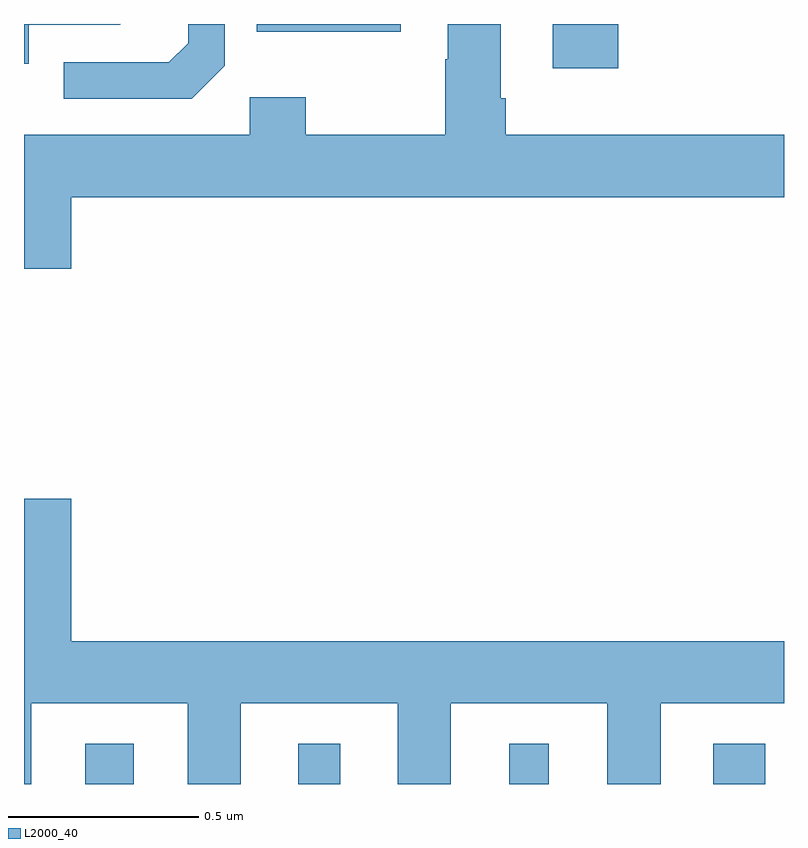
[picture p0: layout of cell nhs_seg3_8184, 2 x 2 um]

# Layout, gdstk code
import gdstk
lib = gdstk.Library(unit=1e-6, precision=1e-09)
def R(c, l, rs):  # rectangles x0, y0, x1, y1
    for r in rs: c.add(gdstk.rectangle(r[:2], r[2:], *l))
def P(c, l, *ps):  # polygons
    for p in ps: c.add(gdstk.Polygon(p, *l))
L2000_40 = (2000, 40)

nhs_seg3_8184 = lib.new_cell('nhs_seg3_8184')
R(nhs_seg3_8184, L2000_40, [(213.161,671.4,213.289,671.506), (213.722,671.4,213.832,671.506), (214.277,671.4,214.381,671.506), (214.814,671.4,214.951,671.506), (214.391,673.284,214.564,673.4), (213.613,673.379,213.991,673.4)])
P(nhs_seg3_8184, L2000_40, [(213.124,672.944),(215,672.944),(215,673.108),(214.268,673.108),(214.268,673.204),(214.255,673.204),(214.255,673.4),(214.115,673.4),(214.115,673.307),(214.108,673.307),(214.108,673.108),(213.741,673.108),(213.741,673.207),(213.594,673.207),(213.594,673.108),(213,673.108),(213,672.756),(213.124,672.756)],
  [(213.012,673.398),(213.252,673.398),(213.254,673.4),(213,673.4),(213,673.296),(213.012,673.296)],
  [(213.528,673.29),(213.528,673.4),(213.432,673.4),(213.432,673.35),(213.381,673.299),(213.105,673.299),(213.105,673.203),(213.441,673.203)],
  [(213.019,671.612),(213.431,671.612),(213.431,671.4),(213.571,671.4),(213.571,671.612),(213.983,671.612),(213.983,671.4),(214.123,671.4),(214.123,671.612),(214.535,671.612),(214.535,671.4),(214.675,671.4),(214.675,671.612),(215,671.612),(215,671.776),(213.124,671.776),(213.124,672.151),(213,672.151),(213,671.4),(213.019,671.4)])

lib.write_gds('nhs_seg3_8184.gds')
